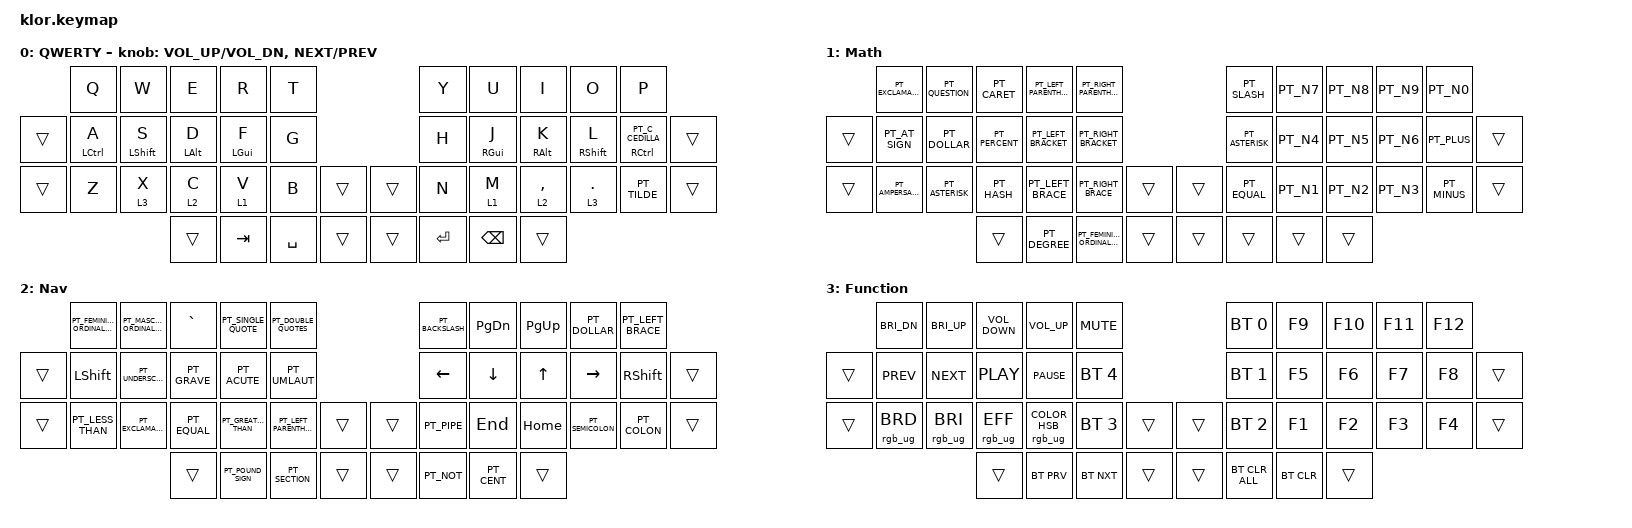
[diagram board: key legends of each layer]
//                               █         █    █            ▄▄▄▀▀▀▀▀▀▄▄▄        █▀▀▀▀▀▀▀▀▀▀█
//                               █        █     █          ▄▀            ▀▄      █          █
//                               █       █      █        ▄▀                ▀▄    █          █
//                               █      █       █        █                  █    █          █
//                               █     █        █       █                    █   █          █
//                               █    █         █       █                    █   █▄▄▄▄▄▄▄▄▄▄█
//                               █   █ █        █       █                    █   █      █
//                               █  █   █       █        █                  █    █       █
//                               █ █     █      █        ▀▄                ▄▀    █        █
//                               ██       █     █          ▀▄            ▄▀      █         █
//                               █         █    █▄▄▄▄▄▄▄▄    ▀▀▀▄▄▄▄▄▄▀▀▀        █          █
//
// ▄▄▄▄▄▄▄▄▄▄▄▄▄▄▄▄▄▄▄▄▄▄▄▄▄▄▄▄▄▄▄▄▄▄▄▄▄▄▄▄▄▄▄▄▄▄▄▄▄▄▄▄▄▄▄▄▄▄▄▄▄▄▄▄▄▄▄▄▄▄▄▄▄▄▄▄▄▄▄▄▄▄▄▄▄▄▄▄▄▄▄▄▄▄▄▄▄▄▄▄▄▄▄▄▄▄▄▄▄▄▄▄▄▄▄▄▄▄▄▄▄▄▄▄▄

#include "keys_pt_abnt2.h"
#include <behaviors.dtsi>
#include <dt-bindings/zmk/bt.h>
#include <dt-bindings/zmk/keys.h>
#include <dt-bindings/zmk/rgb.h>

#define ENGRAM   0
#define NAV      1
#define PROD     2
#define QWERTY   3

/ {
    behaviors {
        hm: homerow_mods {
            compatible = "zmk,behavior-hold-tap";
            label = "HOMEROW_MODS";
            #binding-cells = <2>;
            tapping-term-ms = <300>;
            quick_tap_ms = <0>;
            flavor = "tap-preferred";
            bindings = <&kp>, <&kp>;
        };

        cecedilha: cecedilha {
            compatible = "zmk,behavior-mod-morph";
            label = "CECEDILHA";
            bindings = <&kp C>, <&kp PT_C_CEDILLA>;

            #binding-cells = <0>;
            mods = <(MOD_LALT|MOD_RALT)>;
        };

        question_exclamation: question_exclamation {
            compatible = "zmk,behavior-mod-morph";
            label = "QUESTION_EXCLAMATION";
            bindings = <&kp QUESTION>, <&kp EXCLAMATION>;

            #binding-cells = <0>;
            mods = <(MOD_LSFT|MOD_RSFT)>;
        };

        dot_colon: dot_colon {
            compatible = "zmk,behavior-mod-morph";
            label = "DOT_COLON";
            bindings = <&kp PT_DOT>, <&kp PT_COLON>;

            #binding-cells = <0>;
            mods = <(MOD_LSFT|MOD_RSFT)>;
        };

        o_masculine_ordinal: o_masculine_ordinal {
            compatible = "zmk,behavior-mod-morph";
            label = "O_MASCULINE_ORDINAL";
            bindings = <&kp O>, <&kp PT_MASCULINE_ORDINAL_INDICATOR>;

            #binding-cells = <0>;
            mods = <(MOD_LALT|MOD_RALT)>;
        };

        control_S_dollar: control_S_dollar {
            compatible = "zmk,behavior-mod-morph";
            label = "CONTROL_S_DOLLAR";
            bindings = <&mt RIGHT_CONTROL S>, <&kp DOLLAR>;

            #binding-cells = <0>;
            mods = <(MOD_LALT|MOD_RALT)>;
        };

        command_H_hash: command_H_hash {
            compatible = "zmk,behavior-mod-morph";
            label = "COMMAND_H_HASH";
            bindings = <&mt RIGHT_COMMAND A>, <&kp HASH>;

            #binding-cells = <0>;
            mods = <(MOD_LALT|MOD_RALT)>;
        };

        control_A_feminine_ordinal: control_A_feminine_ordinal {
            compatible = "zmk,behavior-mod-morph";
            label = "CONTROL_A_FEMININE_ORDINAL";
            bindings =
                <&mt LEFT_CONTROL A>,
                <&kp PT_FEMININE_ORDINAL_INDICATOR>;

            #binding-cells = <0>;
            mods = <(MOD_LALT|MOD_RALT)>;
        };

        apost_slash: apost_slash {
            compatible = "zmk,behavior-mod-morph";
            label = "APOST_SLASH";
            bindings = <&kp APOS>, <&kp KP_SLASH>;

            #binding-cells = <0>;
            mods = <(MOD_LALT|MOD_RALT)>;
        };

        backspace_delete: backspace_delete {
            compatible = "zmk,behavior-mod-morph";
            label = "BACKSPACE_DELETE";
            bindings = <&kp BACKSPACE>, <&kp DELETE>;

            #binding-cells = <0>;
            mods = <(MOD_LCTL|MOD_RCTL)>;
        };

        hold_sticky: hold_sticky {
            compatible = "zmk,behavior-hold-tap";
            label = "HOLD_STICKY";
            bindings = <&kp>, <&sk>;

            #binding-cells = <2>;
            tapping-term-ms = <200>;
            flavor = "balanced";
        };

        super_shift: super_shift {
            compatible = "zmk,behavior-mod-morph";
            label = "SUPER_SHIFT";
            bindings = <&hold_sticky LEFT_SHIFT LEFT_SHIFT>, <&caps_word>;

            #binding-cells = <0>;
            mods = <(MOD_LSFT|MOD_RSFT)>;
        };

        control_H_hash: control_H_hash {
            compatible = "zmk,behavior-mod-morph";
            label = "CONTROL_H_HASH";
            bindings = <&hm RIGHT_CONTROL H>, <&kp HASH>;

            #binding-cells = <0>;
            mods = <(MOD_LALT|MOD_RALT)>;
        };

        alt_S_dollar: alt_S_dollar {
            compatible = "zmk,behavior-mod-morph";
            label = "ALT_S_DOLLAR";
            bindings = <&hm RIGHT_ALT S>, <&kp DOLLAR>;

            #binding-cells = <0>;
            mods = <(MOD_LALT|MOD_RALT)>;
        };

        comma_slash: comma_slash {
            compatible = "zmk,behavior-mod-morph";
            label = "COMMA_SLASH";
            bindings = <&kp PT_COMMA>, <&kp KP_SLASH>;

            #binding-cells = <0>;
            mods = <(MOD_LSFT|MOD_RSFT)>;
        };

        X_percentage: X_percentage {
            compatible = "zmk,behavior-mod-morph";
            label = "X_PERCENTAGE";
            bindings = <&kp X>, <&kp PERCENT>;

            #binding-cells = <0>;
            mods = <(MOD_LALT|MOD_RALT)>;
        };

        B_Ampersand: B_Ampersand {
            compatible = "zmk,behavior-mod-morph";
            label = "B_AMPERSAND";
            bindings = <&kp B>, <&kp AMPERSAND>;

            #binding-cells = <0>;
            mods = <(MOD_LALT|MOD_RALT)>;
        };

        alt_i_pipe: alt_i_pipe {
            compatible = "zmk,behavior-mod-morph";
            label = "ALT_I_PIPE";
            bindings = <&hm LEFT_ALT I>, <&kp PIPE>;

            #binding-cells = <0>;
            mods = <(MOD_LALT|MOD_RALT)>;
        };

        U_underscore: U_underscore {
            compatible = "zmk,behavior-mod-morph";
            label = "U_UNDERSCORE";
            bindings = <&kp U>, <&kp UNDERSCORE>;

            #binding-cells = <0>;
            mods = <(MOD_LALT|MOD_RALT)>;
        };

        comma_slash_backslash: comma_slash_backslash {
            compatible = "zmk,behavior-mod-morph";
            label = "COMMA_SLASH_BACKSLASH";
            bindings = <&comma_slash>, <&kp PT_BACKSLASH>;

            #binding-cells = <0>;
            mods = <(MOD_LALT|MOD_RALT)>;
        };

        open_parentesis_less: open_parentesis_less {
            compatible = "zmk,behavior-mod-morph";
            label = "OPEN_PARENTESIS_LESS";
            bindings = <&kp LEFT_PARENTHESIS>, <&kp LESS_THAN>;

            #binding-cells = <0>;
            mods = <(MOD_LSFT|MOD_RSFT)>;
        };

        close_parentesis_greater: close_parentesis_greater {
            compatible = "zmk,behavior-mod-morph";
            label = "CLOSE_PARENTESIS_GREATER";
            bindings = <&kp RIGHT_PARENTHESIS>, <&kp GREATER_THAN>;

            #binding-cells = <0>;
            mods = <(MOD_LSFT|MOD_RSFT)>;
        };

        command_T_shift_same: command_T_shift_same {
            compatible = "zmk,behavior-mod-morph";
            label = "COMMAND_T_SHIFT_SAME";
            bindings = <&kp LG(T)>, <&kp LS(LG(T))>;

            #binding-cells = <0>;
            mods = <(MOD_LSFT|MOD_RSFT)>;
        };

        command_R_shift_same: command_R_shift_same {
            compatible = "zmk,behavior-mod-morph";
            label = "COMMAND_R_SHIFT_SAME";
            bindings = <&kp LG(R)>, <&kp LS(LG(R))>;

            #binding-cells = <0>;
            mods = <(MOD_LSFT|MOD_RSFT)>;
        };

        accents_C_Cedilha: accents_C_Cedilha {
            compatible = "zmk,behavior-hold-tap";
            label = "ACCENTS_C_CEDILHA";
            bindings = <&mo>, <&cecedilha>;

            #binding-cells = <2>;
            tapping-term-ms = <150>;
            flavor = "tap-preferred";
        };
    };

    combos {
        compatible = "zmk,combos";

        esc {
            bindings = <&kp ESC>;
            key-positions = <0 1>;
        };

        caps {
            bindings = <&kp CAPSLOCK>;
            key-positions = <11 12>;
        };

        back {
            bindings = <&kp BACKSPACE>;
            key-positions = <8 9>;
        };

        del {
            bindings = <&kp DEL>;
            key-positions = <20 19>;
        };

        Globe {
            bindings = <&lt 0 GLOBE>;
            key-positions = <5 6>;
        };

        Math {
            bindings = <&sl 1>;
            key-positions = <30 31>;
        };

        qwert {
            bindings = <&sl 0>;
            key-positions = <16 17>;
        };

        Reset {
            bindings = <&bootloader>;
            key-positions = <4 3 2 1>;
        };

        Reset1 {
            bindings = <&bootloader>;
            key-positions = <5 6 7 8>;
        };
    };

    keymap {
        compatible = "zmk,keymap";

        // ▄▄▄▄▄▄▄▄▄▄▄▄▄▄▄▄▄▄▄▄▄▄▄▄▄▄▄▄▄▄▄▄▄▄▄▄▄▄▄▄▄▄▄▄▄▄▄▄▄▄▄▄▄▄▄▄▄▄▄▄▄▄▄▄▄▄▄▄▄▄▄▄▄▄▄▄▄▄▄▄▄▄▄▄▄▄▄▄▄▄▄▄▄▄▄▄▄▄▄▄▄▄▄▄▄▄▄▄▄▄▄▄▄▄▄▄▄▄▄▄▄▄▄▄▄▄▄▄▄▄▄▄▄▄▄▄▄▄▄▄▄▄
        // ▄▄▄▄▄▄▄▄▄▄▄▄▄▄▄▄▄▄▄▄▄▄▄▄▄▄▄▄▄▄▄▄▄▄▄▄▄▄▄▄▄▄▄▄▄▄▄▄▄▄▄▄▄▄▄▄▄▄▄▄▄▄▄▄▄▄▄▄▄▄▄▄▄▄▄▄▄▄▄▄▄▄▄▄▄▄▄▄▄▄▄▄▄▄▄▄▄▄▄▄▄▄▄▄▄▄▄▄▄▄▄▄▄▄▄▄▄▄▄▄▄▄▄▄▄▄▄▄▄▄▄▄▄▄▄▄▄▄▄▄▄▄
        // ▄▄▄▄▄▄▄▄▄▄▄▄▄▄▄▄▄▄▄▄▄▄▄▄▄▄▄▄▄▄▄▄▄▄▄▄▄▄▄▄▄▄▄▄▄▄▄▄▄▄▄▄▄▄▄▄▄▄▄▄▄▄▄▄▄▄▄▄▄▄▄▄▄▄▄▄▄▄▄▄▄▄▄▄▄▄▄▄▄▄▄▄▄▄▄▄▄▄▄▄▄▄▄▄▄▄▄▄▄▄▄▄▄▄▄▄▄▄▄▄▄▄▄▄▄
        // ▄▄▄▄▄▄▄▄▄▄▄▄▄▄▄▄▄▄▄▄▄▄▄▄▄▄▄▄▄▄▄▄▄▄▄▄▄▄▄▄▄▄▄▄▄▄▄▄▄▄▄▄▄▄▄▄▄▄▄▄▄▄▄▄▄▄▄▄▄▄▄▄▄▄▄▄▄▄▄▄▄▄▄▄▄▄▄▄▄▄▄▄▄▄▄▄▄▄▄▄▄▄▄▄▄▄▄▄▄▄▄▄▄▄▄▄▄▄▄▄▄▄▄▄▄

        QWERTY {
            bindings = <
        &kp Q        &kp W        &kp E           &kp R           &kp T                      &kp Y      &kp U            &kp I            &kp O              &kp P
&trans  &hm LCTRL A  &hm LSHFT S  &hm LEFT_ALT D  &hm LEFT_GUI F  &kp G                      &kp H      &hm RIGHT_GUI J  &hm RIGHT_ALT K  &hm RIGHT_SHIFT L  &hm RIGHT_CONTROL PT_C_CEDILLA  &trans
&trans  &kp Z        &lt 3 X      &lt 2 C         &lt 1 V         &kp B      &trans  &trans  &kp N      &lt 1 M          &lt 2 COMMA      &lt 3 DOT          &kp PT_TILDE                    &trans
                                  &trans          &kp TAB         &kp SPACE  &trans  &trans  &kp ENTER  &kp BACKSPACE    &trans
            >;

            sensor-bindings = <&inc_dec_kp C_VOL_UP C_VOL_DN &inc_dec_kp C_NEXT C_PREV>;
            label = "QWERTY";
        };

        Math {
            bindings = <
        &kp PT_EXCLAMATION  &kp PT_QUESTION  &kp PT_CARET    &kp PT_LEFT_PARENTHESIS  &kp PT_RIGHT_PARENTHESIS                           &kp PT_SLASH     &kp PT_N7  &kp PT_N8  &kp PT_N9  &kp PT_N0
&trans  &kp PT_AT_SIGN      &kp PT_DOLLAR    &kp PT_PERCENT  &kp PT_LEFT_BRACKET      &kp PT_RIGHT_BRACKET                               &kp PT_ASTERISK  &kp PT_N4  &kp PT_N5  &kp PT_N6  &kp PT_PLUS   &trans
&trans  &kp PT_AMPERSAND    &kp PT_ASTERISK  &kp PT_HASH     &kp PT_LEFT_BRACE        &kp PT_RIGHT_BRACE                 &trans  &trans  &kp PT_EQUAL     &kp PT_N1  &kp PT_N2  &kp PT_N3  &kp PT_MINUS  &trans
                                             &trans          &kp PT_DEGREE            &kp PT_FEMININE_ORDINAL_INDICATOR  &trans  &trans  &trans           &trans     &trans
            >;

            label = "Math";
        };

        Nav {
            bindings = <
        &kp PT_FEMININE_ORDINAL_INDICATOR  &kp PT_MASCULINE_ORDINAL_INDICATOR  &kp GRAVE     &kp PT_SINGLE_QUOTE  &kp PT_DOUBLE_QUOTES                     &kp PT_BACKSLASH  &kp PAGE_DOWN   &kp PAGE_UP  &kp PT_DOLLAR     &kp PT_LEFT_BRACE
&trans  &kp LEFT_SHIFT                     &kp PT_UNDERSCORE                   &kp PT_GRAVE  &kp PT_ACUTE         &kp PT_UMLAUT                            &kp LEFT_ARROW    &kp DOWN_ARROW  &kp UP       &kp RIGHT_ARROW   &kp RIGHT_SHIFT    &trans
&trans  &kp PT_LESS_THAN                   &kp PT_EXCLAMATION                  &kp PT_EQUAL  &kp PT_GREATER_THAN  &kp PT_LEFT_PARENTHESIS  &trans  &trans  &kp PT_PIPE       &kp END         &kp HOME     &kp PT_SEMICOLON  &kp PT_COLON       &trans
                                                                               &trans        &kp PT_POUND_SIGN    &kp PT_SECTION           &trans  &trans  &kp PT_NOT        &kp PT_CENT     &trans
            >;
        };

        Function {
            bindings = <
        &kp C_BRI_DN     &kp C_BRI_UP     &kp C_VOLUME_DOWN  &kp C_VOLUME_UP                   &kp K_MUTE                    &bt BT_SEL 0    &kp F9      &kp F10  &kp F11  &kp F12
&trans  &kp C_PREV       &kp C_NEXT       &kp C_PLAY         &kp C_PAUSE                       &bt BT_SEL 4                  &bt BT_SEL 1    &kp F5      &kp F6   &kp F7   &kp F8   &trans
&trans  &rgb_ug RGB_BRD  &rgb_ug RGB_BRI  &rgb_ug RGB_EFF    &rgb_ug RGB_COLOR_HSB(57,100,50)  &bt BT_SEL 3  &trans  &trans  &bt BT_SEL 2    &kp F1      &kp F2   &kp F3   &kp F4   &trans
                                          &trans             &bt BT_PRV                        &bt BT_NXT    &trans  &trans  &bt BT_CLR_ALL  &bt BT_CLR  &trans
            >;
        };
    };
};
